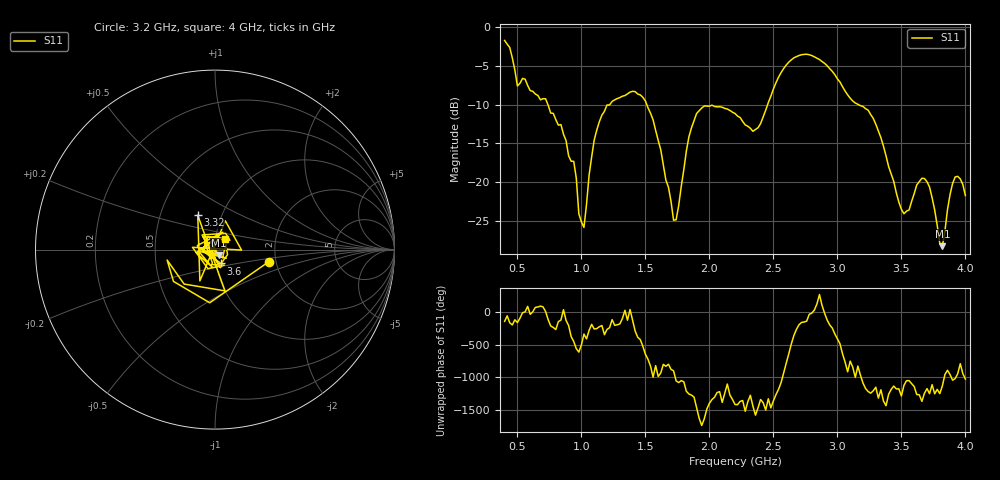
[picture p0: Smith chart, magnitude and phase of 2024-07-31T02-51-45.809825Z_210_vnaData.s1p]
!Created with skrf (http://scikit-rf.org).
# Hz S RI R 50.0
!freq ReS11 ImS11
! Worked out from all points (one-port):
!   181 points, 400 MHz to 4 GHz, reference 50 ohm
!   lowest |S11| = -28.2 dB at 3.82 GHz (marker M1), VSWR 1.08, Z = 52 - j3.38 ohm
!   |S11| at or under -10 dB: 738.4 MHz to 1.222 GHz (483.6 MHz wide, 49.3 % of centre); 1.511 GHz to 2.455 GHz (944.1 MHz wide, 47.6 % of centre); 3.165 GHz to end of sweep
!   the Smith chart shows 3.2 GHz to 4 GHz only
!   S11 on the Smith chart (normalised r, x): 3.2 GHz: 1.83, -0.27; 3.32 GHz: 0.77, +0.31; 3.6 GHz: 1.06, -0.16; 4 GHz: 1.11, +0.14
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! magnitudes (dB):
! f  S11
! 400 MHz  -1.7
! 500 MHz  -7.6
! 720 MHz  -9.2
! 860 MHz  -13.8
! 940 MHz  -17.3
! 980 MHz  -24.1
! 1.02 GHz  -25.8
! 1.12 GHz  -13.3
! 1.3 GHz  -9.1
! 1.5 GHz  -9.5
! 1.62 GHz  -15.8
! 1.72 GHz  -24.9
! 1.76 GHz  -23.0
! 1.9 GHz  -11.1
! 2.2 GHz  -11.1
! 2.38 GHz  -13.0
! 2.66 GHz  -4.0
! 2.86 GHz  -4.2
! 3.1 GHz  -9.2
! 3.2 GHz  -10.2
! 3.32 GHz  -13.4
! 3.5 GHz  -23.5
! 3.56 GHz  -23.6
! 3.6 GHz  -21.5
! 3.7 GHz  -19.9
! 3.82 GHz  -28.2
! 3.92 GHz  -19.3
! 4 GHz  -21.7
